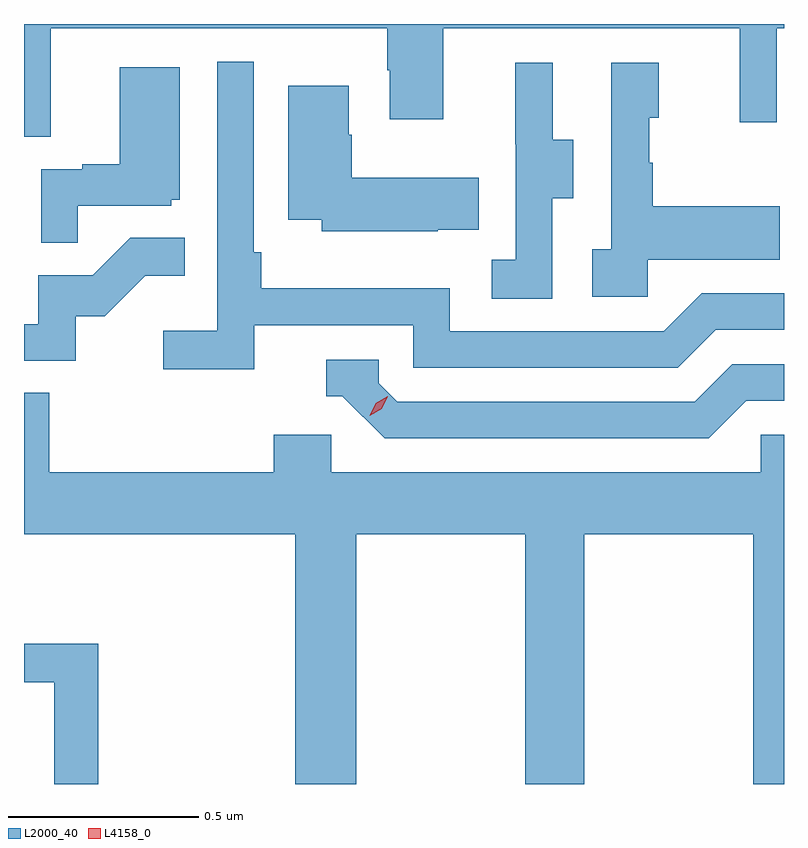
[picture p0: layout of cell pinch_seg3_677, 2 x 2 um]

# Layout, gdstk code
import gdstk
lib = gdstk.Library(unit=1e-6, precision=1e-09)
def P(c, l, *ps):  # polygons
    for p in ps: c.add(gdstk.Polygon(p, *l))
L2000_40 = (2000, 40)
L4158_0 = (4158, 0)

pinch_seg3_677 = lib.new_cell('pinch_seg3_677')
P(pinch_seg3_677, L2000_40, [(1058.935,672.944),(1059.82,672.944),(1059.82,672.833),(1059.827,672.833),(1059.827,672.705),(1059.967,672.705),(1059.967,672.944),(1060.748,672.944),(1060.748,672.696),(1060.845,672.696),(1060.845,672.944),(1060.864,672.944),(1060.864,672.955),(1058.864,672.955),(1058.864,672.658),(1058.935,672.658)],
  [(1059.47,672.162),(1059.888,672.162),(1059.888,672.051),(1060.585,672.051),(1060.684,672.15),(1060.864,672.15),(1060.864,672.246),(1060.647,672.246),(1060.548,672.147),(1059.984,672.147),(1059.984,672.259),(1059.488,672.259),(1059.488,672.355),(1059.468,672.355),(1059.468,672.856),(1059.372,672.856),(1059.372,672.148),(1059.231,672.148),(1059.231,672.046),(1059.47,672.046)],
  [(1060.506,672.335),(1060.853,672.335),(1060.853,672.475),(1060.519,672.475),(1060.519,672.59),(1060.509,672.59),(1060.509,672.708),(1060.534,672.708),(1060.534,672.853),(1060.41,672.853),(1060.41,672.362),(1060.359,672.362),(1060.359,672.237),(1060.506,672.237)],
  [(1060.254,672.496),(1060.309,672.496),(1060.309,672.651),(1060.255,672.651),(1060.255,672.853),(1060.157,672.853),(1060.157,672.639),(1060.158,672.639),(1060.158,672.335),(1060.095,672.335),(1060.095,672.232),(1060.254,672.232)],
  [(1059.005,672.477),(1059.252,672.477),(1059.252,672.492),(1059.274,672.492),(1059.274,672.841),(1059.116,672.841),(1059.116,672.586),(1059.017,672.586),(1059.017,672.573),(1058.91,672.573),(1058.91,672.379),(1059.005,672.379)],
  [(1059.953,672.413),(1060.061,672.413),(1060.061,672.55),(1059.726,672.55),(1059.726,672.663),(1059.718,672.663),(1059.718,672.793),(1059.56,672.793),(1059.56,672.44),(1059.647,672.44),(1059.647,672.41),(1059.953,672.41)],
  [(1059,672.186),(1059.076,672.186),(1059.183,672.293),(1059.287,672.293),(1059.287,672.392),(1059.143,672.392),(1059.045,672.294),(1058.901,672.294),(1058.901,672.165),(1058.864,672.165),(1058.864,672.069),(1059,672.069)],
  [(1060.765,671.964),(1060.864,671.964),(1060.864,672.06),(1060.728,672.06),(1060.629,671.961),(1059.846,671.961),(1059.798,672.009),(1059.798,672.072),(1059.659,672.072),(1059.659,671.976),(1059.702,671.976),(1059.813,671.865),(1060.666,671.865)],
  [(1060.864,671.874),(1060.803,671.874),(1060.803,671.776),(1059.672,671.776),(1059.672,671.874),(1059.521,671.874),(1059.521,671.776),(1058.93,671.776),(1058.93,671.984),(1058.864,671.984),(1058.864,671.612),(1059.578,671.612),(1059.578,670.955),(1059.738,670.955),(1059.738,671.612),(1060.183,671.612),(1060.183,670.955),(1060.338,670.955),(1060.338,671.612),(1060.783,671.612),(1060.783,670.955),(1060.864,670.955)],
  [(1059.059,671.324),(1058.864,671.324),(1058.864,671.223),(1058.943,671.223),(1058.943,670.955),(1059.059,670.955)])
P(pinch_seg3_677, L4158_0, [(1059.774,671.924),(1059.774,671.924),(1059.79,671.957),(1059.821,671.976),(1059.821,671.976),(1059.821,671.975),(1059.805,671.943),(1059.774,671.924)])

lib.write_gds('pinch_seg3_677.gds')
